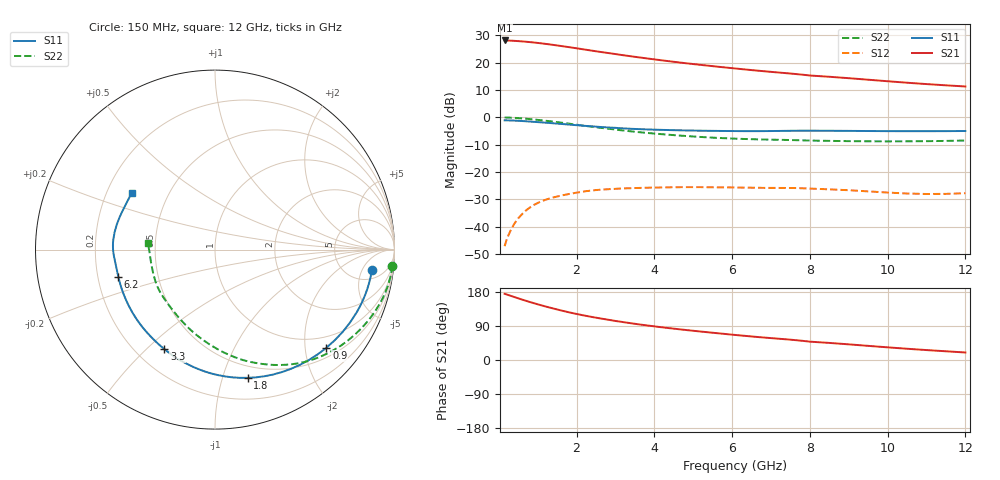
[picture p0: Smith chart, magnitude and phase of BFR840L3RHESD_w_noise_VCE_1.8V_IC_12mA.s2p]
! Infineon Technologies  Discrete & RF Semiconductors
! BFR840L3RHESD
! VCE =  1.8 V,  IC =  12 mA
! Common Emitter S-Parameters:  Jun 2012
# GHz  S  MA  R  50
!  f  S11  S21  S12  S22
! GHz  MAG  ANG  MAG  ANG  MAG  ANG  MAG  ANG
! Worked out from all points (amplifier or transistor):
!   91 points, 150 MHz to 12 GHz, reference 50 ohm
!   highest |S21| = 28.1 dB at 150 MHz (marker M1)
!   |S21| within 3 dB of that: start of sweep to 2.061 GHz
!   unconditionally stable (mu >= 1): 8.122 GHz to end of sweep
!   at 1.3 GHz: K = 0.13, MSG = 28.2 dB, |S12| = -29.7 dB
!   at 4.3 GHz: K = 0.45, MSG = 23.1 dB, |S12| = -25.6 dB
!   at 12 GHz: K = 2.01, MAG = 13.8 dB, |S12| = -27.7 dB
!   lowest NFmin = 0.78 dB at 450 MHz
!   S11 on the Smith chart (normalised r, x): 150 MHz: 8, -8; 900 MHz: 0.71, -2.47; 1.8 GHz: 0.39, -1.21; 3.3 GHz: 0.31, -0.57; 6.2 GHz: 0.29, -0.13; 12 GHz: 0.30, +0.28
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0.15  0.8813 -7.3  25.45 174.7  0.0044 81.7  0.9924 -5.2
0.3  0.8764 -14.6  25.24 169.6  0.0084 82.2  0.9854 -11.0
0.5  0.8634 -23.8  24.75 162.8  0.0142 75.7  0.9669 -18.0
0.7  0.8462 -32.8  24.11 156.2  0.0198 70.1  0.9418 -24.7
0.9  0.8272 -41.4  23.35 150.0  0.0249 65.6  0.9131 -31.1
1.1  0.8076 -49.6  22.5 144.1  0.0292 61.3  0.8825 -37.3
1.3  0.7877 -57.5  21.58 138.6  0.0327 57.0  0.8506 -43.1
1.6  0.7574 -68.7  20.16 130.8  0.037 50.5  0.8006 -51.4
1.8  0.7373 -75.7  19.21 126.0  0.0395 46.5  0.7667 -56.5
2.2  0.6996 -88.6  17.4 117.3  0.0441 40.2  0.7013 -65.8
2.7  0.6595 -102.3  15.39 108.2  0.0479 35.1  0.6326 -76.1
3  0.6426 -110.1  14.36 103.0  0.0492 32.3  0.5974 -81.4
3.3  0.6222 -117.0  13.36 98.5  0.0504 28.7  0.5637 -87.0
3.7  0.6044 -125.3  12.23 92.7  0.0513 25.6  0.5274 -93.6
4.2  0.5891 -134.7  11 86.3  0.0522 22.6  0.4909 -101.2
5  0.572 -148.1  9.422 77.1  0.0528 18.3  0.4459 -112.7
6.1  0.56 -163.2  7.796 65.9  0.0521 14.3  0.4067 -127.3
6.2  0.5594 -164.4  7.67 64.9  0.0519 14.0  0.4042 -128.6
8  0.5693 174.3  5.815 48.4  0.0497 10.0  0.3756 -152.3
8.5  0.5676 170.1  5.516 45.1  0.0482 9.2  0.3708 -156.8
10.5  0.5573 154.1  4.292 29.7  0.0404 12.9  0.364 -175.2
12  0.5618 145.9  3.664 19.8  0.041 24.7  0.3763 174.8
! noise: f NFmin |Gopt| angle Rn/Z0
0.45  0.78  0.25  6  0.16
0.9  0.81  0.25  11  0.16
1.9  0.84  0.27  32  0.15
3.5  0.84  0.27  53  0.14
4  0.86  0.27  62  0.13
5.5  0.88  0.28  77  0.13
7  0.94  0.28  96  0.12
8  1  0.27  107  0.11
10  1.1  0.25  127  0.11
12  1.22  0.25  164  0.11
